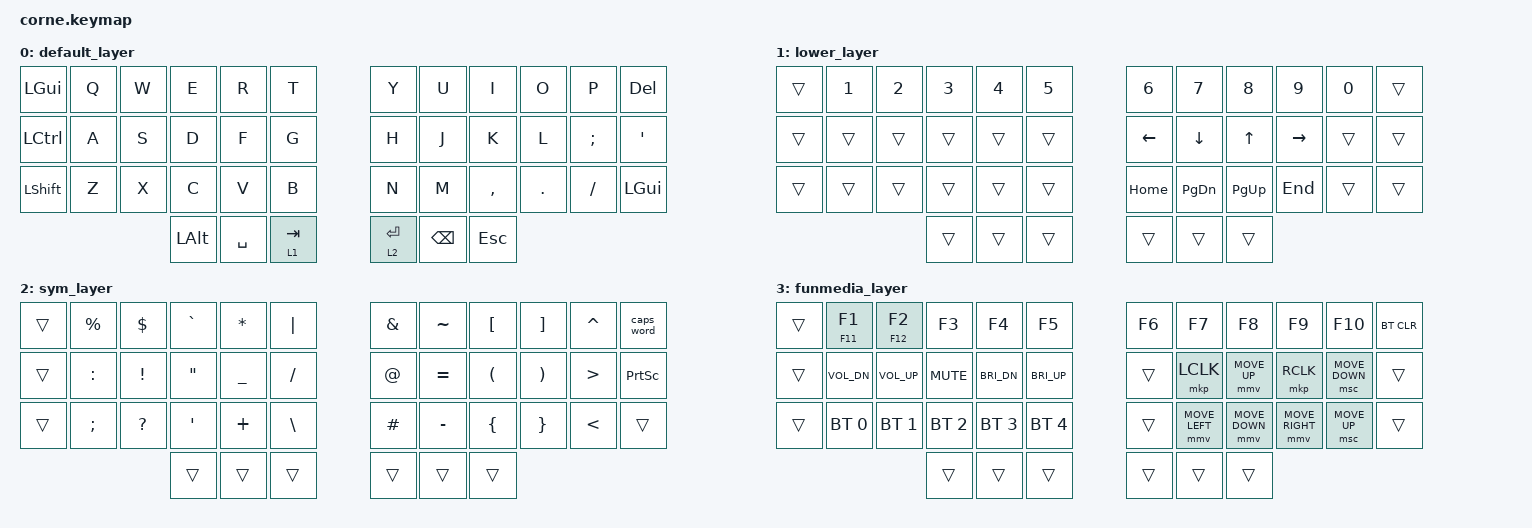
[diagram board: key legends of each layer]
/*
 * Copyright (c) 2020 The ZMK Contributors
 *
 * SPDX-License-Identifier: MIT
 */

#include <behaviors.dtsi>
#include <dt-bindings/zmk/keys.h>
#include <dt-bindings/zmk/bt.h>
#include <dt-bindings/zmk/mouse.h>
#include <behaviors/mouse_keys.dtsi>

&mmv {
  acceleration-exponent = <2>;
  time-to-max-speed-ms = <150>;
  delay-ms = <0>;
};

&msc {
  acceleration-exponent = <1>;
  time-to-max-speed-ms = <300>;
  delay-ms = <0>;
};

&mt {
    tapping-term-ms = <200>;
    quick-tap-ms = <175>;
    require-prior-idle-ms = <0>;
    flavor = "balanced";
};
&sk {
    release-after-ms = <2000>;
    quick-release;
};

/ {
    macros {
        cpp_scope: cpp_scope {
            compatible = "zmk,behavior-macro";
            #binding-cells = <0>;
            bindings = <&kp COLON &kp COLON>;
        };

        cpp_arrow: cpp_arrow {
            compatible = "zmk,behavior-macro";
            #binding-cells = <0>;
            bindings = <&kp MINUS &kp GT>;
        };
    };

        conditional_layers {
        compatible = "zmk,conditional-layers";
        funmedia_layer {
            if-layers = <1 2>;
            then-layer = <3>;
          };
        };

        keymap {
                compatible = "zmk,keymap";

default_layer {
// -----------------------------------------------------------------------------------------
// | GUI  |  Q  |  W  |  E  |  R  |  T  |   |  Y  |  U   |  I  |  O  |  P  | DEL |
// | CTRL |  A  |  S  |  D  |  F  |  G  |   |  H  |  J   |  K  |  L  |  ;  |  '  |
// | SHFT |  Z  |  X  |  C  |  V  |  B  |   |  N  |  M   |  ,  |  .  |  /  | GUI |
//                    | ALT | SPC | 1TAB|   | 2RET| BSC  | ESC |
//
            bindings = < 
   &kp LGUI   &kp Q  &kp W  &kp E  &kp R      &kp T      &kp Y  &kp U  &kp I      &kp O    &kp P     &kp DEL
   &kp LCTRL &kp A  &kp S  &kp D  &kp F      &kp G      &kp H  &kp J  &kp K      &kp L    &kp SEMI  &kp SQT
   &kp LSHFT &kp Z  &kp X  &kp C  &kp V      &kp B      &kp N  &kp M  &kp COMMA  &kp DOT  &kp FSLH  &kp LGUI
                           &kp LALT &kp SPACE &lt 1 TAB   &lt 2 RET  &kp BSPC &kp ESC
            >;
        };
lower_layer {
    // -----------------------------------------------------------------------------------------
    // |      |  1  |  2  |  3  |  4  |  5  |  6  |  7  |  8  |  9  |  0  |      |
    // |      |     |     |     |     |     | LFT | DWN |  UP | RGT |     |      |
    // |      |     |     |     |     |     | HME | PDN | PUP | END |     |      |
    //                    |     |     |     |     |     |     |
    //
    bindings = <
        &trans  &kp N1  &kp N2  &kp N3  &kp N4  &kp N5  &kp N6    &kp N7     &kp N8     &kp N9     &kp N0  &trans
        &trans  &trans  &trans  &trans  &trans  &trans  &kp LEFT  &kp DOWN   &kp UP     &kp RIGHT  &trans  &trans
        &trans  &trans  &trans  &trans  &trans  &trans  &kp HOME  &kp PG_DN  &kp PG_UP  &kp END    &trans  &trans
        &trans  &trans  &trans  &trans  &trans  &trans
    >;
};
        sym_layer {
// -----------------------------------------------------------------------------------------
// |      |  %  |  $  |  `  |  *  |  |  |   |  &  |  ~  |  [  |  ]  |  ^  | caps |
// |      |  :  |  !  |  "  |  _  |  /  |   |  @  |  =  |  (  |  )  |  >  | PSCN |
// |      |  ;  |  ?  |  '  |  +  |  \  |   |  #  |  -  |  {  |  }  |  <  |      |
//                    |     |     |     |   |     | ___ |     |
//
            bindings = <
  &trans &kp PRCNT &kp DLLR  &kp GRAVE &kp STAR  &kp PIPE       &kp AMPS &kp TILDE &kp LBKT &kp RBKT &kp CARET &caps_word
  &trans &kp COLON &kp EXCL  &kp DQT   &kp UNDER &kp FSLH       &kp AT   &kp EQUAL &kp LPAR &kp RPAR &kp GT    &kp PSCRN
  &trans &kp SEMI  &kp QMARK &kp SQT   &kp PLUS  &kp BSLH       &kp HASH &kp MINUS &kp LBRC &kp RBRC &kp LT    &trans
                                 &trans    &trans   &trans     &trans &trans   &trans
            >;
        };

                funmedia_layer {
// -----------------------------------------------------------------------------------------
// |     | F1  | F2  | F3  | F4  | F5  |    | F6  | F7  | F8  | F9  | F10 | BTCLR|
// |     | v_dn|v_up |mute |BR_DN|BR_UP|    |     | LCK | MUP | RCK | SUP |      |
// |     | BT0 | BT1 | BT2 | BT3 | BT4 |    |     | MLF | MDN | MRT | SDN |      |
//                    |      |     |     |   |     |     |     |
//
                        bindings = <
   &trans &mt F11 F1   &mt F12 F2   &kp F3       &kp F4       &kp F5           &kp F6     &kp F7         &kp F8         &kp F9          &kp F10      &bt BT_CLR
   &trans &kp C_VOL_DN &kp C_VOL_UP &kp C_MUTE   &kp C_BRI_DN &kp C_BRI_UP     &trans     &mkp LCLK      &mmv MOVE_UP   &mkp RCLK       &msc MOVE_DOWN &trans
   &trans &bt BT_SEL 0 &bt BT_SEL 1 &bt BT_SEL 2 &bt BT_SEL 3 &bt BT_SEL 4     &trans     &mmv MOVE_LEFT &mmv MOVE_DOWN &mmv MOVE_RIGHT &msc MOVE_UP   &trans
                             &trans &trans   &trans      &trans   &trans    &trans
                        >;
                };
  };
};
